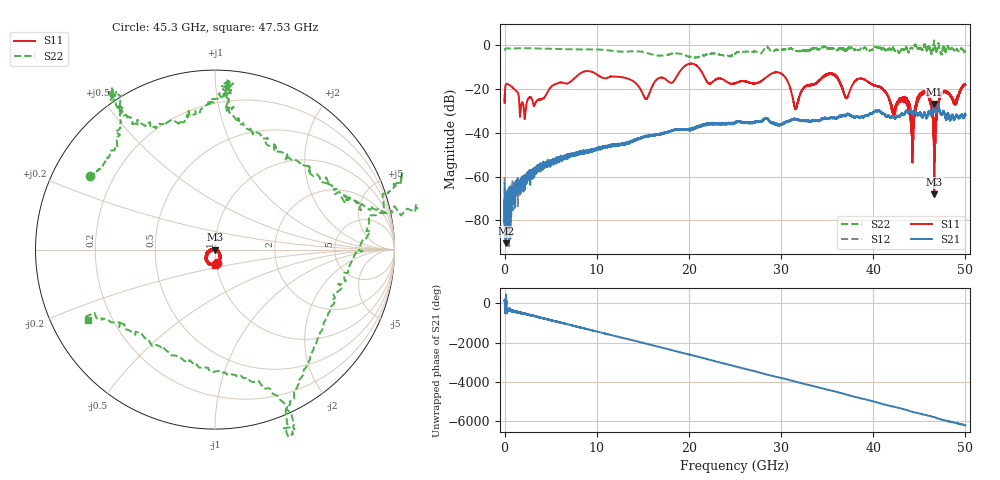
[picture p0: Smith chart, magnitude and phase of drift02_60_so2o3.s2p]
!Created with skrf (http://scikit-rf.org).
# Hz S RI R 50.0
!freq ReS11 ImS11 ReS21 ImS21 ReS12 ImS12 ReS22 ImS22
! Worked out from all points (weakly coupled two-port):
!   10001 points, 300 kHz to 50 GHz, reference 50 ohm
!   highest |S21| = -26.84 dB at 46.6 GHz (marker M1); lowest = -90.4 dB at 120.3 MHz (marker M2)
!   lowest |S11| = -68.0 dB at 46.63 GHz (marker M3), VSWR 1.00, Z = 50 - j0.0331 ohm
!   |S11| at or under -10 dB: start of sweep to 19.43 GHz; 21.00428 GHz to 21.00857 GHz (4.29 MHz wide, 0.0204 % of centre); 21.01 GHz to end of sweep
!   |S22| runs from -5.7 to 2.2 dB; largest |S21 - S12| = 0.0042
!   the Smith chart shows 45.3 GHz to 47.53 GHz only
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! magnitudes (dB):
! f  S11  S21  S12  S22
! 300 kHz  -22.8  -63.1  -60.2  -2.0
! 120.3 MHz  -18.0  -90.4  -83.0  -1.5
! 2.19 GHz  -33.6  -64.9  -61.4  -1.3
! 8.335 GHz  -12.5  -48.7  -49.8  -1.9
! 15.35 GHz  -24.5  -41.8  -41.7  -3.3
! 16.67 GHz  -15.1  -40.6  -40.7  -4.7
! 20.3 GHz  -8.4  -38.2  -38.2  -5.5
! 25 GHz  -17.4  -35.5  -35.3  -3.9
! 29.84 GHz  -12.6  -36.5  -36.4  -2.0
! 31.59 GHz  -29.0  -33.8  -33.9  -2.4
! 33.34 GHz  -18.0  -34.5  -34.4  -1.6
! 35.61 GHz  -13.0  -33.2  -33.3  -1.6
! 37.1 GHz  -24.1  -31.8  -31.6  -2.3
! 38.76 GHz  -15.3  -32.8  -32.6  -1.0
! 41.67 GHz  -23.9  -32.2  -32.0  -1.9
! 43.52 GHz  -24.4  -30.4  -30.5  -1.2
! 44.27 GHz  -38.4  -31.2  -31.0  -1.4
! 45.73 GHz  -21.2  -33.0  -32.4  -1.2
! 46.6 GHz  -44.6  -26.8  -27.0  1.8
! 46.63 GHz  -68.0  -27.3  -27.5  1.7
! 47.47 GHz  -22.0  -31.6  -31.8  -3.5
! 50 GHz  -18.1  -32.0  -31.8  -2.7
